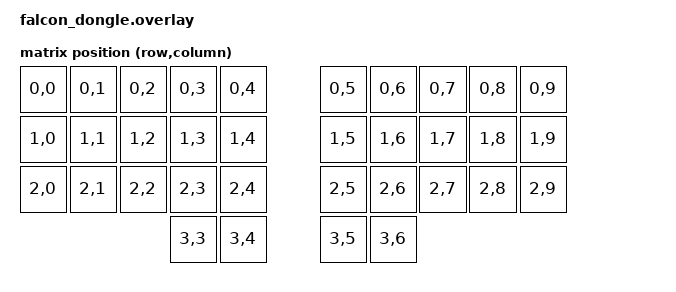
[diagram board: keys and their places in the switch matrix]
/*
 * Falcon - Dongle Overlay
 *
 * The dongle is the BLE central. It connects to both split peripherals
 * and presents a single USB HID device to the computer.
 *
 * No matrix or SPI wiring — only USB-C to the computer.
 *
 * A mock kscan is required since the dongle has no physical keys.
 * The physical layout defines the full 34-key keyboard for keymap processing.
 * The trackball input split listener is enabled here on the central side.
 */

#include <dt-bindings/zmk/matrix_transform.h>
#include <physical_layouts.dtsi>
#include "../falcon_right/falcon.dtsi"

/ {
    chosen {
        zmk,kscan = &mock_kscan;
        zmk,physical-layout = &default_layout;
    };

    /* Required: dongle has no physical keys */
    mock_kscan: mock_kscan_0 {
        compatible = "zmk,kscan-mock";
        columns = <0>;
        rows = <0>;
        events = <0>;
    };

    /*
     * Full 34-key matrix transform (both halves combined):
     * Left half:  cols 0-4, Right half: cols 5-9
     * Row 3 is thumb row - only inner 2 cols per side (cols 3,4 and 5,6)
     */
    default_transform: keymap_transform_0 {
        compatible = "zmk,matrix-transform";
        columns = <10>;
        rows = <4>;
        map = <
            RC(0,0) RC(0,1) RC(0,2) RC(0,3) RC(0,4)    RC(0,5) RC(0,6) RC(0,7) RC(0,8) RC(0,9)
            RC(1,0) RC(1,1) RC(1,2) RC(1,3) RC(1,4)    RC(1,5) RC(1,6) RC(1,7) RC(1,8) RC(1,9)
            RC(2,0) RC(2,1) RC(2,2) RC(2,3) RC(2,4)    RC(2,5) RC(2,6) RC(2,7) RC(2,8) RC(2,9)
                                    RC(3,3) RC(3,4)    RC(3,5) RC(3,6)
        >;
    };

    default_layout: default_layout {
        compatible = "zmk,physical-layout";
        display-name = "Falcon";
        transform = <&default_transform>;

        keys =
            /* Row 0 left */
            <&key_physical_attrs 100 100 0    0   0 0 0>,
            <&key_physical_attrs 100 100 100  0   0 0 0>,
            <&key_physical_attrs 100 100 200  0   0 0 0>,
            <&key_physical_attrs 100 100 300  0   0 0 0>,
            <&key_physical_attrs 100 100 400  0   0 0 0>,
            /* Row 0 right */
            <&key_physical_attrs 100 100 600  0   0 0 0>,
            <&key_physical_attrs 100 100 700  0   0 0 0>,
            <&key_physical_attrs 100 100 800  0   0 0 0>,
            <&key_physical_attrs 100 100 900  0   0 0 0>,
            <&key_physical_attrs 100 100 1000 0   0 0 0>,
            /* Row 1 left */
            <&key_physical_attrs 100 100 0    100 0 0 0>,
            <&key_physical_attrs 100 100 100  100 0 0 0>,
            <&key_physical_attrs 100 100 200  100 0 0 0>,
            <&key_physical_attrs 100 100 300  100 0 0 0>,
            <&key_physical_attrs 100 100 400  100 0 0 0>,
            /* Row 1 right */
            <&key_physical_attrs 100 100 600  100 0 0 0>,
            <&key_physical_attrs 100 100 700  100 0 0 0>,
            <&key_physical_attrs 100 100 800  100 0 0 0>,
            <&key_physical_attrs 100 100 900  100 0 0 0>,
            <&key_physical_attrs 100 100 1000 100 0 0 0>,
            /* Row 2 left */
            <&key_physical_attrs 100 100 0    200 0 0 0>,
            <&key_physical_attrs 100 100 100  200 0 0 0>,
            <&key_physical_attrs 100 100 200  200 0 0 0>,
            <&key_physical_attrs 100 100 300  200 0 0 0>,
            <&key_physical_attrs 100 100 400  200 0 0 0>,
            /* Row 2 right */
            <&key_physical_attrs 100 100 600  200 0 0 0>,
            <&key_physical_attrs 100 100 700  200 0 0 0>,
            <&key_physical_attrs 100 100 800  200 0 0 0>,
            <&key_physical_attrs 100 100 900  200 0 0 0>,
            <&key_physical_attrs 100 100 1000 200 0 0 0>,
            /* Row 3 thumbs left (inner 2) */
            <&key_physical_attrs 100 100 300  300 0 0 0>,
            <&key_physical_attrs 100 100 400  300 0 0 0>,
            /* Row 3 thumbs right (inner 2) */
            <&key_physical_attrs 100 100 600  300 0 0 0>,
            <&key_physical_attrs 100 100 700  300 0 0 0>;
    };
};

/* Enable the trackball listener on the central side */
&trackball_listener {
    status = "okay";
};
